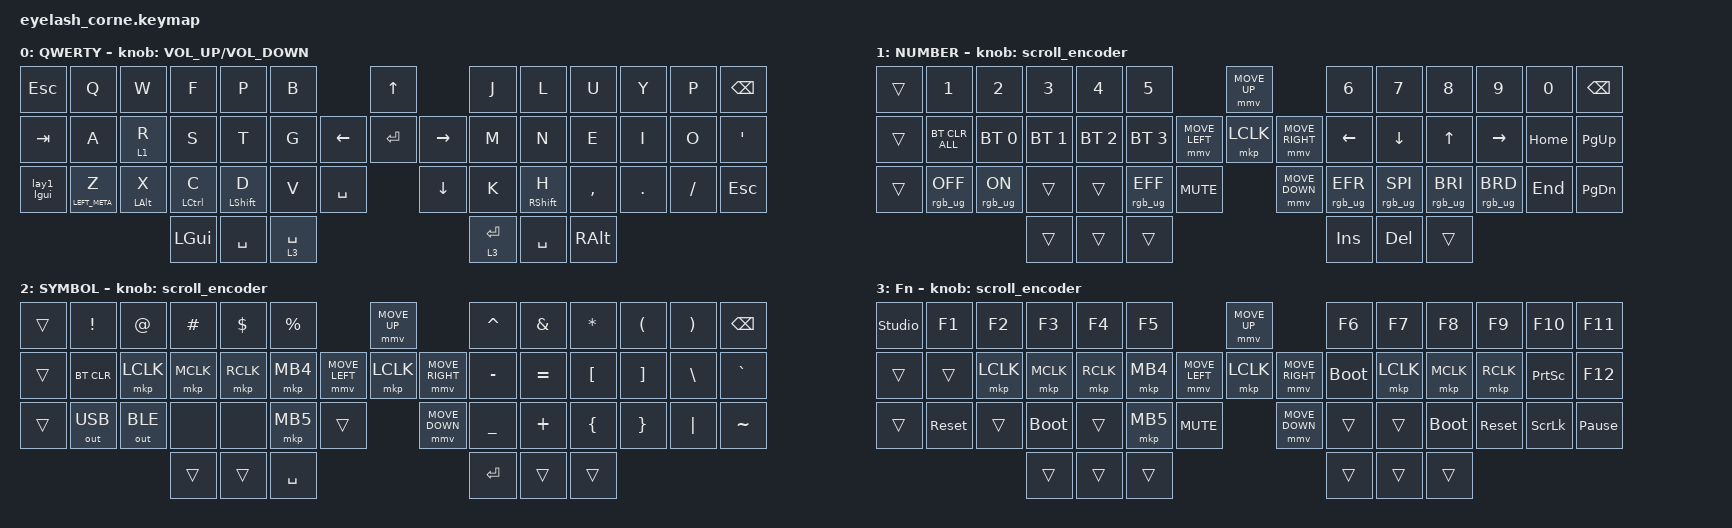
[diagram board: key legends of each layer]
#define ZMK_POINTING_DEFAULT_MOVE_VAL 1200  // 600
#define ZMK_POINTING_DEFAULT_SCRL_VAL 25   // 10

#include <input/processors.dtsi>
#include <zephyr/dt-bindings/input/input-event-codes.h>
#include <behaviors.dtsi>
#include <dt-bindings/zmk/backlight.h>
#include <dt-bindings/zmk/bt.h>
#include <dt-bindings/zmk/keys.h>
#include <dt-bindings/zmk/outputs.h>
#include <dt-bindings/zmk/pointing.h>
#include <dt-bindings/zmk/rgb.h>

&mmv_input_listener { input-processors = <&zip_xy_scaler 2 1>; };

&msc_input_listener { input-processors = <&zip_scroll_scaler 2 1>; };

&msc {
    acceleration-exponent = <1>;      // 0
    time-to-max-speed-ms = <100>;       // 300
    delay-ms = <0>;                   // 0
};

&mmv {
    time-to-max-speed-ms = <500>;
    acceleration-exponent = <1>;
    trigger-period-ms = <16>;
};

&soft_off { hold-time-ms = <2000>; };

/ {
    behaviors {
        td0: td0 {
            compatible = "zmk,behavior-tap-dance";
            display-name = "Shift/Caps Lock Tap Dance";
            #binding-cells = <0>;
            bindings = <&kp LEFT_SHIFT>, <&kp CAPS>;
        };

        lay1_lgui: lay1_lgui {
            compatible = "zmk,behavior-mod-morph";
            label = "LAY1_LGUI";
            bindings = <&mo 1>;
            #binding-cells = <0>;
            mods = <(MOD_LGUI)>;
        };
    };

    rgb_encoder: rgb_encoder {
        compatible = "zmk,behavior-sensor-rotate";
        #sensor-binding-cells = <0>;
        bindings = <&rgb_ug RGB_BRI>, <&rgb_ug RGB_BRD>;
    };

    scroll_encoder: scroll_encoder {
        compatible = "zmk,behavior-sensor-rotate";
        #sensor-binding-cells = <0>;
        bindings = <&msc SCRL_DOWN>, <&msc SCRL_UP>;

        tap-ms = <100>;
    };

    combos {
        compatible = "zmk,combos";

        softoff {
            bindings = <&soft_off>;
            key-positions = <1 15 29>;
        };

        lights_toggle {
            bindings = <&bl BL_TOG>;
            key-positions = <14 15 16 17>;
        };
    };

    keymap {
        compatible = "zmk,keymap";

        default_layer {
            display-name = "QWERTY";
            bindings = <
&kp ESCAPE  &kp Q            &kp W           &kp F        &kp P        &kp B                               &kp UP                &kp J        &kp L         &kp U      &kp Y    &kp P     &kp BSPC
&kp TAB     &kp A            &lt 1 R         &kp S        &kp T        &kp G                     &kp LEFT  &kp ENTER  &kp RIGHT  &kp M        &kp N         &kp E      &kp I    &kp O     &kp SQT
&lay1_lgui  &mt LEFT_META Z  &mt LEFT_ALT X  &mt LCTRL C  &mt LSHFT D  &kp V        &kp SPACE              &kp DOWN              &kp K        &mt RSHIFT H  &kp COMMA  &kp DOT  &kp FSLH  &kp ESC
                                             &kp LGUI     &kp SPACE    &lt 3 SPACE                                               &lt 3 ENTER  &kp SPACE     &kp RALT
            >;

            sensor-bindings = <&inc_dec_kp C_VOLUME_UP C_VOLUME_DOWN>;
        };

        lower_layer {
            display-name = "NUMBER";
            bindings = <
&trans  &kp N1           &kp N2          &kp N3        &kp N4        &kp N5                                         &mmv MOVE_UP                     &kp N6           &kp N7           &kp N8           &kp N9           &kp N0    &kp BSPC
&trans  &bt BT_CLR_ALL   &bt BT_SEL 0    &bt BT_SEL 1  &bt BT_SEL 2  &bt BT_SEL 3                   &mmv MOVE_LEFT  &mkp LCLK       &mmv MOVE_RIGHT  &kp LEFT         &kp DOWN         &kp UP           &kp RIGHT        &kp HOME  &kp PG_UP
&trans  &rgb_ug RGB_OFF  &rgb_ug RGB_ON  &trans        &trans        &rgb_ug RGB_EFF  &kp C_MUTE                    &mmv MOVE_DOWN                   &rgb_ug RGB_EFR  &rgb_ug RGB_SPI  &rgb_ug RGB_BRI  &rgb_ug RGB_BRD  &kp END   &kp PG_DN
                                         &trans        &trans        &trans                                                                          &kp INS          &kp DEL          &trans
            >;

            sensor-bindings = <&scroll_encoder>;
        };

        raise_layer {
            display-name = "SYMBOL";
            bindings = <
&trans  &kp EXCL      &kp AT        &kp HASH   &kp DLLR   &kp PRCNT                            &mmv MOVE_UP                     &kp CARET  &kp AMPS   &kp ASTRK  &kp LPAR  &kp RPAR  &kp BSPC
&trans  &bt BT_CLR    &mkp LCLK     &mkp MCLK  &mkp RCLK  &mkp MB4             &mmv MOVE_LEFT  &mkp LCLK       &mmv MOVE_RIGHT  &kp MINUS  &kp EQUAL  &kp LBKT   &kp RBKT  &kp BSLH  &kp GRAVE
&trans  &out OUT_USB  &out OUT_BLE  &none      &none      &mkp MB5   &trans                    &mmv MOVE_DOWN                   &kp UNDER  &kp PLUS   &kp LBRC   &kp RBRC  &kp PIPE  &kp TILDE
                                    &trans     &trans     &kp SPACE                                                             &kp RET    &trans     &trans
            >;

            sensor-bindings = <&scroll_encoder>;
        };

        layer_3 {
            display-name = "Fn";
            bindings = <
&studio_unlock  &kp F1      &kp F2     &kp F3       &kp F4     &kp F5                                  &mmv MOVE_UP                     &kp F6       &kp F7     &kp F8       &kp F9      &kp F10          &kp F11
&trans          &trans      &mkp LCLK  &mkp MCLK    &mkp RCLK  &mkp MB4                &mmv MOVE_LEFT  &mkp LCLK       &mmv MOVE_RIGHT  &bootloader  &mkp LCLK  &mkp MCLK    &mkp RCLK   &kp PRINTSCREEN  &kp F12
&trans          &sys_reset  &trans     &bootloader  &trans     &mkp MB5  &kp C_MUTE                    &mmv MOVE_DOWN                   &trans       &trans     &bootloader  &sys_reset  &kp SCROLLLOCK   &kp PAUSE_BREAK
                                       &trans       &trans     &trans                                                                   &trans       &trans     &trans
            >;

            sensor-bindings = <&scroll_encoder>;
        };
    };
};
